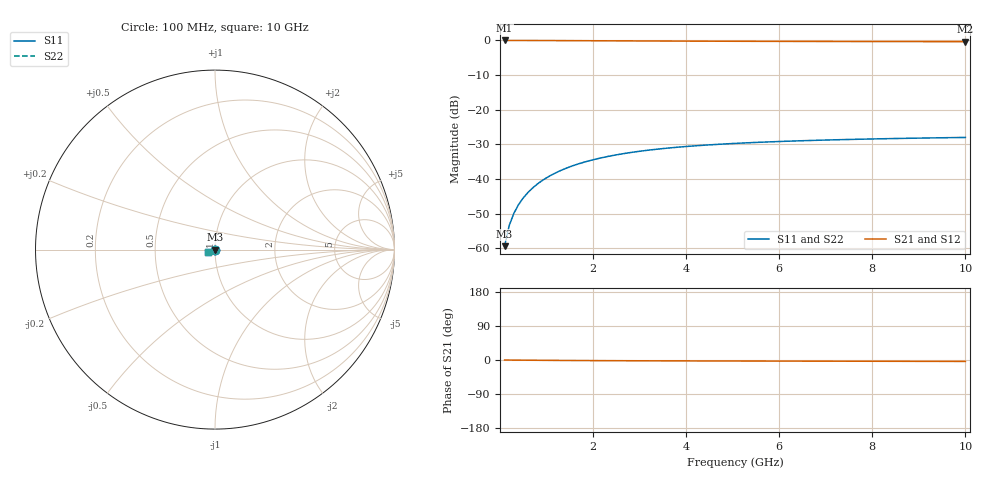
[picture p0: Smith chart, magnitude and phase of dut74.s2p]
! Touchstone file exported from HFSS 2024.1.0
!  File:  C:/UserFiles/LocalFiles/RDL_TSV_Batchsim/temp_TSV1_74_1778750494.aedt
!  Generated:  05:28:34 PM May 14, 2026
!  Design:  TSV1
!  Project:  temp_TSV1_74_1778750494
!  Setup:  Setup1
!  Solution:  Sweep
! Variables:
!  dtsv = 12.43um
!  hbump = 3um
!  htsv = 55.48um
!  lrdl = 252.1521522um
!  p = 40
!  p1 = 45.3um
!  t = 500um
!  trdl = 3um
!  wrdl = 24.89489489um
# GHz S MA R 50.000000
! Terminal data exported
! Port[1] = TSV22_T1
! Port[2] = TSV22_T2
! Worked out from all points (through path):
!   100 points, 100 MHz to 10 GHz, reference 50 ohm
!   highest |S21| = 0.00 dB at 100 MHz (marker M1); lowest = -0.3 dB at 10 GHz (marker M2)
!   lowest |S11| = -59.3 dB at 100 MHz (marker M3), VSWR 1.00, Z = 50 - j0.108 ohm
!   |S11| at or under -10 dB: start of sweep to end of sweep
!   |S22| runs from -59.3 to -28.0 dB; largest |S21 - S12| = 2.8e-15
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0.1  0.001078 -87.5  0.9999 -0.1  0.9999 -0.1  0.001078 -87.5
! Gamma 0 0 0 0
! Port Impedance 50 0 50 0
0.2  0.002151 -91.2  0.9998 -0.2  0.9998 -0.2  0.002151 -91.2
0.3  0.003223 -93.6  0.9996 -0.3  0.9996 -0.3  0.003223 -93.6
0.4  0.00429 -95.5  0.9994 -0.4  0.9994 -0.4  0.00429 -95.5
0.5  0.005348 -97.3  0.9991 -0.5  0.9991 -0.5  0.005348 -97.3
0.6  0.006397 -99.0  0.9988 -0.6  0.9988 -0.6  0.006397 -99.0
0.7  0.007431 -100.6  0.9984 -0.6  0.9984 -0.6  0.007431 -100.6
0.8  0.008451 -102.1  0.998 -0.7  0.998 -0.7  0.008451 -102.1
0.9  0.009452 -103.7  0.9975 -0.8  0.9975 -0.8  0.009452 -103.7
1.1  0.0114 -106.7  0.9965 -1.0  0.9965 -1.0  0.0114 -106.7
1.4  0.01415 -110.9  0.9946 -1.2  0.9946 -1.2  0.01415 -110.9
1.6  0.01587 -113.6  0.9933 -1.3  0.9933 -1.3  0.01587 -113.6
1.8  0.01748 -116.2  0.992 -1.5  0.992 -1.5  0.01748 -116.2
2.1  0.01972 -119.9  0.9899 -1.6  0.9899 -1.6  0.01972 -119.9
2.5  0.02237 -124.3  0.9871 -1.8  0.9871 -1.8  0.02237 -124.3
2.9  0.02467 -128.4  0.9845 -2.0  0.9845 -2.0  0.02467 -128.4
3.4  0.02712 -132.8  0.9814 -2.2  0.9814 -2.2  0.02712 -132.8
4.2  0.03022 -138.8  0.9771 -2.4  0.9771 -2.4  0.03022 -138.8
5.1  0.03285 -144.4  0.9731 -2.7  0.9731 -2.7  0.03285 -144.4
6.7  0.03611 -151.9  0.9678 -3.0  0.9678 -3.0  0.03611 -151.9
8.4  0.0384 -157.9  0.964 -3.4  0.964 -3.4  0.0384 -157.9
10  0.03989 -162.5  0.9614 -3.8  0.9614 -3.8  0.03989 -162.5
